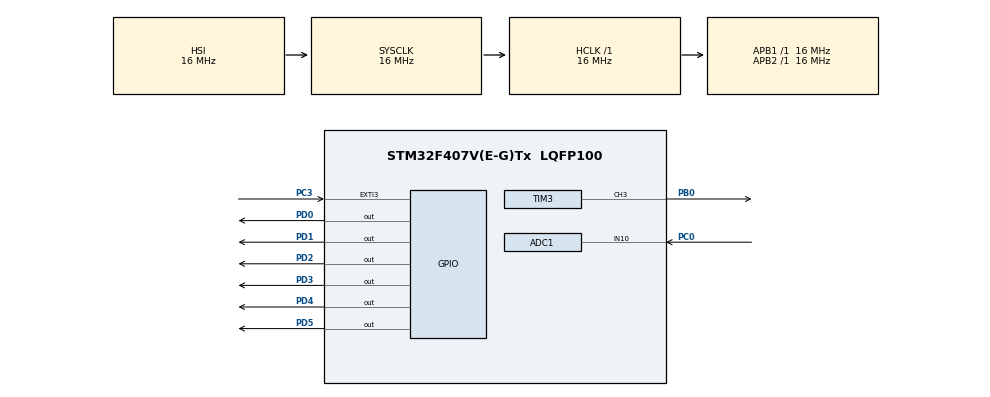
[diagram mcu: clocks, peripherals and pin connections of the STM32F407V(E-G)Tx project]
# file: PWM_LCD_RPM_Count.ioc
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ADC1.Channel-0\#ChannelRegularConversion=ADC_CHANNEL_10
ADC1.NbrOfConversionFlag=1
ADC1.Rank-0\#ChannelRegularConversion=1
ADC1.SamplingTime-0\#ChannelRegularConversion=ADC_SAMPLETIME_3CYCLES
ADC1.master=1
Mcu.Family=STM32F4
Mcu.Name=STM32F407V(E-G)Tx
Mcu.Package=LQFP100
NVIC.EXTI3_IRQn=true\:0\:0\:false\:false\:true\:true\:true\:true
NVIC.PriorityGroup=NVIC_PRIORITYGROUP_4
PB0.Signal=S_TIM3_CH3
PC0.Signal=SharedAnalog_PC0
PC3.GPIO_ModeDefaultEXTI=GPIO_MODE_IT_FALLING
PC3.GPIO_PuPd=GPIO_PULLUP
PC3.Signal=GPXTI3
PD0.Signal=GPIO_Output
PD1.Signal=GPIO_Output
PD2.Signal=GPIO_Output
PD3.Signal=GPIO_Output
PD4.Signal=GPIO_Output
PD5.Signal=GPIO_Output
ProjectManager.HeapSize=0x200
ProjectManager.StackSize=0x400
ProjectManager.TargetToolchain=STM32CubeIDE
RCC.AHBFreq_Value=16000000
RCC.APB1Freq_Value=16000000
RCC.APB2Freq_Value=16000000
RCC.CortexFreq_Value=16000000
RCC.HSE_VALUE=25000000
RCC.HSI_VALUE=16000000
RCC.LSE_VALUE=32768
RCC.SYSCLKFreq_VALUE=16000000
RCC.VCOOutputFreq_Value=192000000
SH.S_TIM3_CH3.0=TIM3_CH3,PWM Generation3 CH3
SH.SharedAnalog_PC0.0=GPIO_Analog
SH.SharedAnalog_PC0.1=ADC1_IN10,IN10
TIM3.Channel-PWM\ Generation3\ CH3=TIM_CHANNEL_3
TIM3.Period=999
TIM3.Prescaler=15
VP_TIM3_VS_ClockSourceINT.Mode=Internal
board=custom

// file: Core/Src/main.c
/* USER CODE BEGIN Header */
/**
  ******************************************************************************
  * @file           : main.c
  * @brief          : Main program body
  ******************************************************************************
  * @attention
  *
  * Copyright (c) 2025 STMicroelectronics.
  * All rights reserved.
  *
  * This software is licensed under terms that can be found in the LICENSE file
  * in the root directory of this software component.
  * If no LICENSE file comes with this software, it is provided AS-IS.
  *
  ******************************************************************************
  */
/* USER CODE END Header */
#include "main.h"

ADC_HandleTypeDef hadc1;

TIM_HandleTypeDef htim3;

/* USER CODE BEGIN PV */
// Define LCD pins (Modify if using different GPIO)
#define RS_PIN     GPIO_PIN_1
#define RS_PORT    GPIOD
#define EN_PIN     GPIO_PIN_0
#define EN_PORT    GPIOD
#define D4_PIN     GPIO_PIN_2
#define D5_PIN     GPIO_PIN_3
#define D6_PIN     GPIO_PIN_4
#define D7_PIN     GPIO_PIN_5
#define DATA_PORT  GPIOD

char buffer[16];
void LCD_EnablePulse(void);
void LCD_Send4Bits(uint8_t data);
void LCD_Command(uint8_t cmd);
// Initialize LCD
void LCD_Init(void) {
    HAL_Delay(20); // Wait for power stabilization

    LCD_Command(0x02); // Set 4-bit mode
    LCD_Command(0x28); // 2-line, 5x8 matrix
    LCD_Command(0x0C); // Display ON, Cursor OFF
    LCD_Command(0x06); // Auto increment cursor
    LCD_Command(0x01); // Clear display
    HAL_Delay(2);
}

// Send command to LCD
void LCD_Command(uint8_t cmd) {
    HAL_GPIO_WritePin(RS_PORT, RS_PIN, GPIO_PIN_RESET); // RS = 0 (Command mode)

    LCD_Send4Bits(cmd >> 4); // Send upper nibble
    LCD_Send4Bits(cmd);      // Send lower nibble
}

// Send character to LCD
void LCD_Char(uint8_t data) {
    HAL_GPIO_WritePin(RS_PORT, RS_PIN, GPIO_PIN_SET); // RS = 1 (Data mode)

    LCD_Send4Bits(data >> 4); // Send upper nibble
    LCD_Send4Bits(data);      // Send lower nibble
}

// Send string to LCD
void LCD_String(char *str) {
    while (*str) {
        LCD_Char(*str++);
    }
}

// Set cursor position
void LCD_SetCursor(uint8_t row, uint8_t col) {
    uint8_t pos = (row == 0) ? (0x80 + col) : (0xC0 + col);
    LCD_Command(pos);
}

// Clear LCD display
void LCD_Clear(void) {
    LCD_Command(0x01);
    HAL_Delay(2);
}

// Send 4-bit data
void LCD_Send4Bits(uint8_t data) {
    HAL_GPIO_WritePin(DATA_PORT, D4_PIN, (data >> 0) & 0x01);
    HAL_GPIO_WritePin(DATA_PORT, D5_PIN, (data >> 1) & 0x01);
    HAL_GPIO_WritePin(DATA_PORT, D6_PIN, (data >> 2) & 0x01);
    HAL_GPIO_WritePin(DATA_PORT, D7_PIN, (data >> 3) & 0x01);

    LCD_EnablePulse();
}

// Generate Enable Pulse
void LCD_EnablePulse(void) {
    HAL_GPIO_WritePin(EN_PORT, EN_PIN, GPIO_PIN_SET);
    HAL_Delay(1);
    HAL_GPIO_WritePin(EN_PORT, EN_PIN, GPIO_PIN_RESET);
    HAL_Delay(1);
}

/**
  * @brief This function handles EXTI line3 interrupt.
  */
volatile uint16_t countPulses = 0U; // count the ext interrput pulse
/**
  * @brief This function handles EXTI line3 interrupt.
  */
void EXTI3_IRQHandler(void)
{
  /* USER CODE BEGIN EXTI3_IRQn 0 */

  /* USER CODE END EXTI3_IRQn 0 */
  HAL_GPIO_EXTI_IRQHandler(GPIO_PIN_3);
  /* USER CODE BEGIN EXTI3_IRQn 1 */
  countPulses++;
  /* USER CODE END EXTI3_IRQn 1 */
}
/* USER CODE END PV */

void SystemClock_Config(void);
static void MX_GPIO_Init(void);
static void MX_TIM3_Init(void);
static void MX_ADC1_Init(void);

/* USER CODE BEGIN 0 */
uint16_t duty = 500U;//50% duty cycle MIN:0 MAX:999
uint16_t adcValue = 0U;
uint32_t RPM_value = 0U;
/* USER CODE END 0 */

int main(void)
{

  /* MCU Configuration--------------------------------------------------------*/

  /* Reset of all peripherals, Initializes the Flash interface and the Systick. */
  HAL_Init();

  /* Configure the system clock */
  SystemClock_Config();

  /* Initialize all configured peripherals */
  MX_GPIO_Init();
  MX_TIM3_Init();
  MX_ADC1_Init();
  /* USER CODE BEGIN 2 */
	HAL_TIM_PWM_Start(&htim3, TIM_CHANNEL_3);
	LCD_Init(); // Initialize LCD
	// Configure Timer 2 for microsecond delay
	LCD_SetCursor(0, 0);
	LCD_String("   RPM Counter  ");
	HAL_Delay(1000);
  /* USER CODE END 2 */

  /* Infinite loop */
  while (1)
  {

    /* USER CODE BEGIN 3 */
		HAL_ADC_Start(&hadc1);
		if (HAL_ADC_PollForConversion(&hadc1, 100) == HAL_OK) {
			adcValue = HAL_ADC_GetValue(&hadc1);
			//RPM measurement
			RPM_value = (countPulses * 60U);
			sprintf(buffer, "    RPM: %04lu   ", RPM_value);
			LCD_SetCursor(1, 0);
			LCD_String(buffer);
		}
		HAL_ADC_Stop(&hadc1);

		// Example: Adjust PWM duty cycle dynamically based on ADC value
		duty = ((adcValue)/4);
		if(duty >= 999)
		{
			duty = 999;//set max range
		}
		__HAL_TIM_SET_COMPARE(&htim3, TIM_CHANNEL_3, duty); //PWM in PB0 pin

		countPulses = 0U;//Reset the pulses
		RPM_value = 0U;
		HAL_Delay(1000);
  }
  /* USER CODE END 3 */
}

void SystemClock_Config(void)
{
  RCC_OscInitTypeDef RCC_OscInitStruct = {0};
  RCC_ClkInitTypeDef RCC_ClkInitStruct = {0};

  /** Configure the main internal regulator output voltage
  */
  __HAL_RCC_PWR_CLK_ENABLE();
  __HAL_PWR_VOLTAGESCALING_CONFIG(PWR_REGULATOR_VOLTAGE_SCALE1);

  /** Initializes the RCC Oscillators according to the specified parameters
  * in the RCC_OscInitTypeDef structure.
  */
  RCC_OscInitStruct.OscillatorType = RCC_OSCILLATORTYPE_HSI;
  RCC_OscInitStruct.HSIState = RCC_HSI_ON;
  RCC_OscInitStruct.HSICalibrationValue = RCC_HSICALIBRATION_DEFAULT;
  RCC_OscInitStruct.PLL.PLLState = RCC_PLL_NONE;
  if (HAL_RCC_OscConfig(&RCC_OscInitStruct) != HAL_OK)
  {
    Error_Handler();
  }

  /** Initializes the CPU, AHB and APB buses clocks
  */
  RCC_ClkInitStruct.ClockType = RCC_CLOCKTYPE_HCLK|RCC_CLOCKTYPE_SYSCLK
                              |RCC_CLOCKTYPE_PCLK1|RCC_CLOCKTYPE_PCLK2;
  RCC_ClkInitStruct.SYSCLKSource = RCC_SYSCLKSOURCE_HSI;
  RCC_ClkInitStruct.AHBCLKDivider = RCC_SYSCLK_DIV1;
  RCC_ClkInitStruct.APB1CLKDivider = RCC_HCLK_DIV1;
  RCC_ClkInitStruct.APB2CLKDivider = RCC_HCLK_DIV1;

  if (HAL_RCC_ClockConfig(&RCC_ClkInitStruct, FLASH_LATENCY_0) != HAL_OK)
  {
    Error_Handler();
  }
}

static void MX_ADC1_Init(void)
{

  ADC_ChannelConfTypeDef sConfig = {0};

  /** Configure the global features of the ADC (Clock, Resolution, Data Alignment and number of conversion)
  */
  hadc1.Instance = ADC1;
  hadc1.Init.ClockPrescaler = ADC_CLOCK_SYNC_PCLK_DIV2;
  hadc1.Init.Resolution = ADC_RESOLUTION_12B;
  hadc1.Init.ScanConvMode = DISABLE;
  hadc1.Init.ContinuousConvMode = DISABLE;
  hadc1.Init.DiscontinuousConvMode = DISABLE;
  hadc1.Init.ExternalTrigConvEdge = ADC_EXTERNALTRIGCONVEDGE_NONE;
  hadc1.Init.ExternalTrigConv = ADC_SOFTWARE_START;
  hadc1.Init.DataAlign = ADC_DATAALIGN_RIGHT;
  hadc1.Init.NbrOfConversion = 1;
  hadc1.Init.DMAContinuousRequests = DISABLE;
  hadc1.Init.EOCSelection = ADC_EOC_SINGLE_CONV;
  if (HAL_ADC_Init(&hadc1) != HAL_OK)
  {
    Error_Handler();
  }

  /** Configure for the selected ADC regular channel its corresponding rank in the sequencer and its sample time.
  */
  sConfig.Channel = ADC_CHANNEL_10;
  sConfig.Rank = 1;
  sConfig.SamplingTime = ADC_SAMPLETIME_3CYCLES;
  if (HAL_ADC_ConfigChannel(&hadc1, &sConfig) != HAL_OK)
  {
    Error_Handler();
  }

}

static void MX_TIM3_Init(void)
{

  TIM_ClockConfigTypeDef sClockSourceConfig = {0};
  TIM_MasterConfigTypeDef sMasterConfig = {0};
  TIM_OC_InitTypeDef sConfigOC = {0};

  htim3.Instance = TIM3;
  htim3.Init.Prescaler = 15;
  htim3.Init.CounterMode = TIM_COUNTERMODE_UP;
  htim3.Init.Period = 999;
  htim3.Init.ClockDivision = TIM_CLOCKDIVISION_DIV1;
  htim3.Init.AutoReloadPreload = TIM_AUTORELOAD_PRELOAD_DISABLE;
  if (HAL_TIM_Base_Init(&htim3) != HAL_OK)
  {
    Error_Handler();
  }
  sClockSourceConfig.ClockSource = TIM_CLOCKSOURCE_INTERNAL;
  if (HAL_TIM_ConfigClockSource(&htim3, &sClockSourceConfig) != HAL_OK)
  {
    Error_Handler();
  }
  if (HAL_TIM_PWM_Init(&htim3) != HAL_OK)
  {
    Error_Handler();
  }
  sMasterConfig.MasterOutputTrigger = TIM_TRGO_RESET;
  sMasterConfig.MasterSlaveMode = TIM_MASTERSLAVEMODE_DISABLE;
  if (HAL_TIMEx_MasterConfigSynchronization(&htim3, &sMasterConfig) != HAL_OK)
  {
    Error_Handler();
  }
  sConfigOC.OCMode = TIM_OCMODE_PWM1;
  sConfigOC.Pulse = 0;
  sConfigOC.OCPolarity = TIM_OCPOLARITY_HIGH;
  sConfigOC.OCFastMode = TIM_OCFAST_DISABLE;
  if (HAL_TIM_PWM_ConfigChannel(&htim3, &sConfigOC, TIM_CHANNEL_3) != HAL_OK)
  {
    Error_Handler();
  }
  HAL_TIM_MspPostInit(&htim3);

}

static void MX_GPIO_Init(void)
{
  GPIO_InitTypeDef GPIO_InitStruct = {0};

  /* GPIO Ports Clock Enable */
  __HAL_RCC_GPIOC_CLK_ENABLE();
  __HAL_RCC_GPIOB_CLK_ENABLE();
  __HAL_RCC_GPIOD_CLK_ENABLE();

  /*Configure GPIO pin Output Level */
  HAL_GPIO_WritePin(GPIOD, GPIO_PIN_0|GPIO_PIN_1|GPIO_PIN_2|GPIO_PIN_3
                          |GPIO_PIN_4|GPIO_PIN_5, GPIO_PIN_RESET);

  /*Configure GPIO pin : PC3 */
  GPIO_InitStruct.Pin = GPIO_PIN_3;
  GPIO_InitStruct.Mode = GPIO_MODE_IT_FALLING;
  GPIO_InitStruct.Pull = GPIO_PULLUP;
  HAL_GPIO_Init(GPIOC, &GPIO_InitStruct);

  /*Configure GPIO pins : PD0 PD1 PD2 PD3
                           PD4 PD5 */
  GPIO_InitStruct.Pin = GPIO_PIN_0|GPIO_PIN_1|GPIO_PIN_2|GPIO_PIN_3
                          |GPIO_PIN_4|GPIO_PIN_5;
  GPIO_InitStruct.Mode = GPIO_MODE_OUTPUT_PP;
  GPIO_InitStruct.Pull = GPIO_NOPULL;
  GPIO_InitStruct.Speed = GPIO_SPEED_FREQ_LOW;
  HAL_GPIO_Init(GPIOD, &GPIO_InitStruct);

  /* EXTI interrupt init*/
  HAL_NVIC_SetPriority(EXTI3_IRQn, 0, 0);
  HAL_NVIC_EnableIRQ(EXTI3_IRQn);

}

void Error_Handler(void)
{
  __disable_irq();
  while (1)
  {
  }
}
